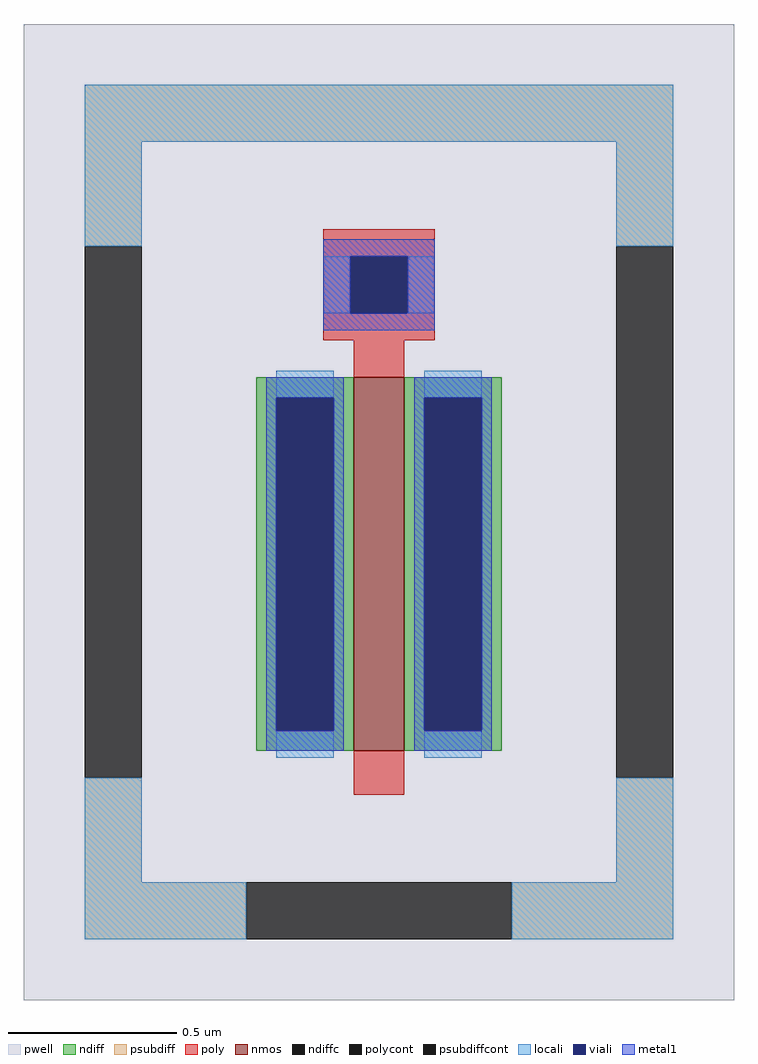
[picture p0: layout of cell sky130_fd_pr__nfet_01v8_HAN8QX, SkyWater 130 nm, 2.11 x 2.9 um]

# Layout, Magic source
magic
tech sky130A
magscale 1 2
<< pwell >>
rect -211 -290 211 290
<< nmos >>
rect -15 -142 15 80
<< ndiff >>
rect -73 68 -15 80
rect -73 -130 -61 68
rect -27 -130 -15 68
rect -73 -142 -15 -130
rect 15 68 73 80
rect 15 -130 27 68
rect 61 -130 73 68
rect 15 -142 73 -130
<< ndiffc >>
rect -61 -130 -27 68
rect 27 -130 61 68
<< psubdiff >>
rect -175 220 175 254
rect -175 158 -141 220
rect 141 158 175 220
rect -175 -220 -141 -158
rect 141 -220 175 -158
rect -175 -254 -79 -220
rect 79 -254 175 -220
<< psubdiffcont >>
rect -175 -158 -141 158
rect 141 -158 175 158
rect -79 -254 79 -220
<< poly >>
rect -33 152 33 168
rect -33 118 -17 152
rect 17 118 33 152
rect -33 102 33 118
rect -15 80 15 102
rect -15 -168 15 -142
<< polycont >>
rect -17 118 17 152
<< locali >>
rect -175 220 175 254
rect -175 158 -141 220
rect 141 158 175 220
rect -33 118 -17 152
rect 17 118 33 152
rect -61 68 -27 84
rect -61 -146 -27 -130
rect 27 68 61 84
rect 27 -146 61 -130
rect -175 -220 -141 -158
rect 141 -220 175 -158
rect -175 -254 -79 -220
rect 79 -254 175 -220
<< viali >>
rect -17 118 17 152
rect -61 -130 -27 68
rect 27 -130 61 68
<< metal1 >>
rect -33 152 33 162
rect -33 118 -17 152
rect 17 118 33 152
rect -33 108 33 118
rect -67 68 -21 80
rect -67 -130 -61 68
rect -27 -130 -21 68
rect -67 -142 -21 -130
rect 21 68 67 80
rect 21 -130 27 68
rect 61 -130 67 68
rect 21 -142 67 -130
<< properties >>
string gencell sky130_fd_pr__nfet_01v8
string FIXED_BBOX -158 -237 158 237
string parameters w 1.11 l 0.150 m 1 nf 1 diffcov 100 polycov 100 guard 1 glc 1 grc 1 gtc 0 gbc 1 tbcov 100 rlcov 100 topc 1 botc 0 poverlap 0 doverlap 1 lmin 0.15 wmin 0.42 compatible {sky130_fd_pr__nfet_01v8 sky130_fd_pr__nfet_01v8_lvt  sky130_fd_bs_flash__special_sonosfet_star  sky130_fd_pr__nfet_g5v0d10v5 sky130_fd_pr__nfet_05v0_nvt  sky130_fd_pr__nfet_03v3_nvt} full_metal 1 viasrc 100 viadrn 100 viagate 100 viagb 0 viagr 0 viagl 0 viagt 0
string library sky130
<< end >>
